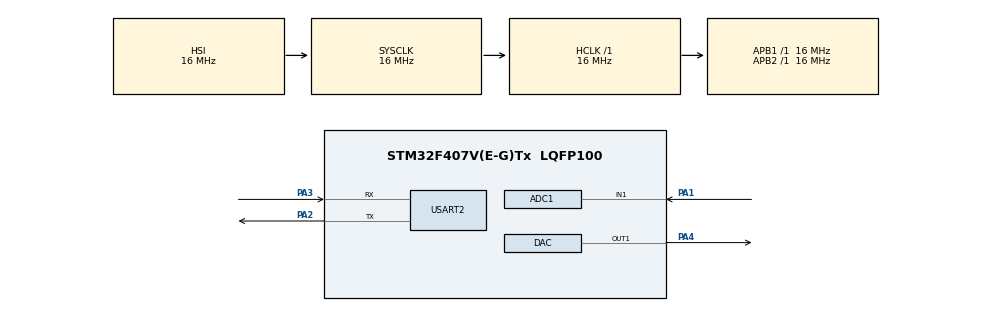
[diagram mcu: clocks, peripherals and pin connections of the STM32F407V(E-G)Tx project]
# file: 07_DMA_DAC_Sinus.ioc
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ADC1.Channel-11\#ChannelRegularConversion=ADC_CHANNEL_1
ADC1.DMAContinuousRequests=ENABLE
ADC1.ExternalTrigConv=ADC_EXTERNALTRIGCONV_T3_TRGO
ADC1.NbrOfConversionFlag=1
ADC1.Rank-11\#ChannelRegularConversion=1
ADC1.SamplingTime-11\#ChannelRegularConversion=ADC_SAMPLETIME_3CYCLES
ADC1.master=1
DAC.DAC_Trigger=DAC_TRIGGER_T6_TRGO
Dma.ADC1.1.Direction=DMA_PERIPH_TO_MEMORY
Dma.ADC1.1.FIFOMode=DMA_FIFOMODE_DISABLE
Dma.ADC1.1.Instance=DMA2_Stream0
Dma.ADC1.1.MemDataAlignment=DMA_MDATAALIGN_HALFWORD
Dma.ADC1.1.MemInc=DMA_MINC_ENABLE
Dma.ADC1.1.Mode=DMA_CIRCULAR
Dma.ADC1.1.PeriphDataAlignment=DMA_PDATAALIGN_HALFWORD
Dma.ADC1.1.PeriphInc=DMA_PINC_DISABLE
Dma.ADC1.1.Priority=DMA_PRIORITY_LOW
Dma.DAC1.0.Direction=DMA_MEMORY_TO_PERIPH
Dma.DAC1.0.FIFOMode=DMA_FIFOMODE_DISABLE
Dma.DAC1.0.Instance=DMA1_Stream5
Dma.DAC1.0.MemDataAlignment=DMA_MDATAALIGN_HALFWORD
Dma.DAC1.0.MemInc=DMA_MINC_ENABLE
Dma.DAC1.0.Mode=DMA_CIRCULAR
Dma.DAC1.0.PeriphDataAlignment=DMA_PDATAALIGN_HALFWORD
Dma.DAC1.0.PeriphInc=DMA_PINC_DISABLE
Dma.DAC1.0.Priority=DMA_PRIORITY_LOW
Dma.Request0=DAC1
Dma.Request1=ADC1
Mcu.Family=STM32F4
Mcu.Name=STM32F407V(E-G)Tx
Mcu.Package=LQFP100
NVIC.DMA1_Stream5_IRQn=true\:0\:0\:false\:false\:true\:false\:true\:true
NVIC.DMA2_Stream0_IRQn=true\:0\:0\:false\:false\:true\:false\:true\:true
NVIC.PriorityGroup=NVIC_PRIORITYGROUP_4
PA1.Signal=ADCx_IN1
PA2.Mode=Asynchronous
PA2.Signal=USART2_TX
PA3.Mode=Asynchronous
PA3.Signal=USART2_RX
PA4.Signal=COMP_DAC1_group
ProjectManager.HeapSize=0x200
ProjectManager.StackSize=0x400
ProjectManager.TargetToolchain=STM32CubeIDE
RCC.AHBFreq_Value=16000000
RCC.APB1Freq_Value=16000000
RCC.APB2Freq_Value=16000000
RCC.CortexFreq_Value=16000000
RCC.HSE_VALUE=25000000
RCC.HSI_VALUE=16000000
RCC.LSE_VALUE=32768
RCC.SYSCLKFreq_VALUE=16000000
RCC.VCOOutputFreq_Value=192000000
SH.ADCx_IN1.0=ADC1_IN1,IN1
SH.COMP_DAC1_group.0=DAC_OUT1,DAC_OUT1
TIM3.Period=799
TIM3.Prescaler=3
TIM3.TIM_MasterOutputTrigger=TIM_TRGO_UPDATE
TIM6.Period=799
TIM6.Prescaler=3
TIM6.TIM_MasterOutputTrigger=TIM_TRGO_UPDATE
USART2.VirtualMode=VM_ASYNC
VP_TIM3_VS_ClockSourceINT.Mode=Internal
VP_TIM6_VS_ClockSourceINT.Mode=Enable_Timer
board=custom

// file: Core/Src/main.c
/* USER CODE BEGIN Header */
/**
  ******************************************************************************
  * @file           : main.c
  * @brief          : Main program body
  ******************************************************************************
  * @attention
  *
  * Copyright (c) 2026 STMicroelectronics.
  * All rights reserved.
  *
  * This software is licensed under terms that can be found in the LICENSE file
  * in the root directory of this software component.
  * If no LICENSE file comes with this software, it is provided AS-IS.
  *
  ******************************************************************************
  */
/* USER CODE END Header */
#include "main.h"

/* USER CODE BEGIN Includes */

#include "math.h"
#include "stdbool.h"
#include "string.h"
#include "stdio.h"

/* USER CODE END Includes */

/* USER CODE BEGIN PD */

#define WAVE_SAMPLES		100
#define ADC_BUFFER_BOYUTU 	100

/* USER CODE END PD */

ADC_HandleTypeDef hadc1;
DMA_HandleTypeDef hdma_adc1;

DAC_HandleTypeDef hdac;
DMA_HandleTypeDef hdma_dac1;

TIM_HandleTypeDef htim3;
TIM_HandleTypeDef htim6;

UART_HandleTypeDef huart2;

/* USER CODE BEGIN PV */

uint16_t wave[WAVE_SAMPLES];
uint16_t adcBuffer[ADC_BUFFER_BOYUTU];

volatile bool adcBufferHazir = false;
float vrms = 0.0f;
/* USER CODE END PV */

void SystemClock_Config(void);
static void MX_GPIO_Init(void);
static void MX_DMA_Init(void);
static void MX_DAC_Init(void);
static void MX_TIM6_Init(void);
static void MX_ADC1_Init(void);
static void MX_TIM3_Init(void);
static void MX_USART2_UART_Init(void);

/* USER CODE BEGIN 0 */

void Generate_SinWave(void){
	for(int i = 0; i < WAVE_SAMPLES; i++){
		wave[i] = (uint16_t)((sinf(2 * M_PI * i / WAVE_SAMPLES) + 1) * 2047);
	}
}

float Calculate_Vrms(void){
	// DC ortalaması
	float offset = 0.0f;
	for(int i = 0; i < ADC_BUFFER_BOYUTU; i++){
		offset += (float)adcBuffer[i];
	}
	offset /= (float)ADC_BUFFER_BOYUTU;

	// AC bileşeninin kareler ortalaması
	float toplam = 0.0f;
	for(int i = 0; i < ADC_BUFFER_BOYUTU; i++){
		float ac = (float)adcBuffer[i] - offset;
		toplam += ac * ac;
	}

	// Voltaja çevir ve Karekök
	return (sqrtf(toplam / (float)ADC_BUFFER_BOYUTU) / 4095.0f) * 3.3f;
}

void UART_SendString(char *str)
{
    HAL_UART_Transmit(&huart2, (uint8_t*)str, strlen(str), 100);
}

void HAL_ADC_ConvCpltCallback(ADC_HandleTypeDef *hadc)
{
    if (hadc->Instance == ADC1)
    {
        adcBufferHazir = true;
    }
}
/* USER CODE END 0 */

int main(void)
{

  /* MCU Configuration--------------------------------------------------------*/

  /* Reset of all peripherals, Initializes the Flash interface and the Systick. */
  HAL_Init();

  /* Configure the system clock */
  SystemClock_Config();

  /* Initialize all configured peripherals */
  MX_GPIO_Init();
  MX_DMA_Init();
  MX_DAC_Init();
  MX_TIM6_Init();
  MX_ADC1_Init();
  MX_TIM3_Init();
  MX_USART2_UART_Init();
  /* USER CODE BEGIN 2 */
  Generate_SinWave();
  HAL_DAC_Start_DMA(&hdac, DAC_CHANNEL_1, (uint32_t*)wave, WAVE_SAMPLES, DAC_ALIGN_12B_R);
  HAL_TIM_Base_Start(&htim6);

  HAL_ADC_Start_DMA(&hadc1, (uint32_t*)adcBuffer, ADC_BUFFER_BOYUTU);
  HAL_TIM_Base_Start(&htim3);

  /* USER CODE END 2 */

  /* Infinite loop */
  while (1)
  {

    /* USER CODE BEGIN 3 */
	  if (adcBufferHazir)
	      {
	          adcBufferHazir = false;
	          vrms = Calculate_Vrms();

	          char satir[16];
	          UART_SendString("START\r\n");
	          for (int i = 0; i < ADC_BUFFER_BOYUTU; i++)
	          {
	              sprintf(satir, "%d\r\n", adcBuffer[i]);
	              UART_SendString(satir);
	          }
	      }

  }
  /* USER CODE END 3 */
}

void SystemClock_Config(void)
{
  RCC_OscInitTypeDef RCC_OscInitStruct = {0};
  RCC_ClkInitTypeDef RCC_ClkInitStruct = {0};

  /** Configure the main internal regulator output voltage
  */
  __HAL_RCC_PWR_CLK_ENABLE();
  __HAL_PWR_VOLTAGESCALING_CONFIG(PWR_REGULATOR_VOLTAGE_SCALE1);

  /** Initializes the RCC Oscillators according to the specified parameters
  * in the RCC_OscInitTypeDef structure.
  */
  RCC_OscInitStruct.OscillatorType = RCC_OSCILLATORTYPE_HSI;
  RCC_OscInitStruct.HSIState = RCC_HSI_ON;
  RCC_OscInitStruct.HSICalibrationValue = RCC_HSICALIBRATION_DEFAULT;
  RCC_OscInitStruct.PLL.PLLState = RCC_PLL_NONE;
  if (HAL_RCC_OscConfig(&RCC_OscInitStruct) != HAL_OK)
  {
    Error_Handler();
  }

  /** Initializes the CPU, AHB and APB buses clocks
  */
  RCC_ClkInitStruct.ClockType = RCC_CLOCKTYPE_HCLK|RCC_CLOCKTYPE_SYSCLK
                              |RCC_CLOCKTYPE_PCLK1|RCC_CLOCKTYPE_PCLK2;
  RCC_ClkInitStruct.SYSCLKSource = RCC_SYSCLKSOURCE_HSI;
  RCC_ClkInitStruct.AHBCLKDivider = RCC_SYSCLK_DIV1;
  RCC_ClkInitStruct.APB1CLKDivider = RCC_HCLK_DIV1;
  RCC_ClkInitStruct.APB2CLKDivider = RCC_HCLK_DIV1;

  if (HAL_RCC_ClockConfig(&RCC_ClkInitStruct, FLASH_LATENCY_0) != HAL_OK)
  {
    Error_Handler();
  }
}

static void MX_ADC1_Init(void)
{

  ADC_ChannelConfTypeDef sConfig = {0};

  /** Configure the global features of the ADC (Clock, Resolution, Data Alignment and number of conversion)
  */
  hadc1.Instance = ADC1;
  hadc1.Init.ClockPrescaler = ADC_CLOCK_SYNC_PCLK_DIV2;
  hadc1.Init.Resolution = ADC_RESOLUTION_12B;
  hadc1.Init.ScanConvMode = DISABLE;
  hadc1.Init.ContinuousConvMode = DISABLE;
  hadc1.Init.DiscontinuousConvMode = DISABLE;
  hadc1.Init.ExternalTrigConvEdge = ADC_EXTERNALTRIGCONVEDGE_RISING;
  hadc1.Init.ExternalTrigConv = ADC_EXTERNALTRIGCONV_T3_TRGO;
  hadc1.Init.DataAlign = ADC_DATAALIGN_RIGHT;
  hadc1.Init.NbrOfConversion = 1;
  hadc1.Init.DMAContinuousRequests = ENABLE;
  hadc1.Init.EOCSelection = ADC_EOC_SINGLE_CONV;
  if (HAL_ADC_Init(&hadc1) != HAL_OK)
  {
    Error_Handler();
  }

  /** Configure for the selected ADC regular channel its corresponding rank in the sequencer and its sample time.
  */
  sConfig.Channel = ADC_CHANNEL_1;
  sConfig.Rank = 1;
  sConfig.SamplingTime = ADC_SAMPLETIME_3CYCLES;
  if (HAL_ADC_ConfigChannel(&hadc1, &sConfig) != HAL_OK)
  {
    Error_Handler();
  }

}

static void MX_DAC_Init(void)
{

  DAC_ChannelConfTypeDef sConfig = {0};

  /** DAC Initialization
  */
  hdac.Instance = DAC;
  if (HAL_DAC_Init(&hdac) != HAL_OK)
  {
    Error_Handler();
  }

  /** DAC channel OUT1 config
  */
  sConfig.DAC_Trigger = DAC_TRIGGER_T6_TRGO;
  sConfig.DAC_OutputBuffer = DAC_OUTPUTBUFFER_ENABLE;
  if (HAL_DAC_ConfigChannel(&hdac, &sConfig, DAC_CHANNEL_1) != HAL_OK)
  {
    Error_Handler();
  }

}

static void MX_TIM3_Init(void)
{

  TIM_ClockConfigTypeDef sClockSourceConfig = {0};
  TIM_MasterConfigTypeDef sMasterConfig = {0};

  htim3.Instance = TIM3;
  htim3.Init.Prescaler = 3;
  htim3.Init.CounterMode = TIM_COUNTERMODE_UP;
  htim3.Init.Period = 799;
  htim3.Init.ClockDivision = TIM_CLOCKDIVISION_DIV1;
  htim3.Init.AutoReloadPreload = TIM_AUTORELOAD_PRELOAD_DISABLE;
  if (HAL_TIM_Base_Init(&htim3) != HAL_OK)
  {
    Error_Handler();
  }
  sClockSourceConfig.ClockSource = TIM_CLOCKSOURCE_INTERNAL;
  if (HAL_TIM_ConfigClockSource(&htim3, &sClockSourceConfig) != HAL_OK)
  {
    Error_Handler();
  }
  sMasterConfig.MasterOutputTrigger = TIM_TRGO_UPDATE;
  sMasterConfig.MasterSlaveMode = TIM_MASTERSLAVEMODE_DISABLE;
  if (HAL_TIMEx_MasterConfigSynchronization(&htim3, &sMasterConfig) != HAL_OK)
  {
    Error_Handler();
  }

}

static void MX_TIM6_Init(void)
{

  TIM_MasterConfigTypeDef sMasterConfig = {0};

  htim6.Instance = TIM6;
  htim6.Init.Prescaler = 3;
  htim6.Init.CounterMode = TIM_COUNTERMODE_UP;
  htim6.Init.Period = 799;
  htim6.Init.AutoReloadPreload = TIM_AUTORELOAD_PRELOAD_DISABLE;
  if (HAL_TIM_Base_Init(&htim6) != HAL_OK)
  {
    Error_Handler();
  }
  sMasterConfig.MasterOutputTrigger = TIM_TRGO_UPDATE;
  sMasterConfig.MasterSlaveMode = TIM_MASTERSLAVEMODE_DISABLE;
  if (HAL_TIMEx_MasterConfigSynchronization(&htim6, &sMasterConfig) != HAL_OK)
  {
    Error_Handler();
  }

}

static void MX_USART2_UART_Init(void)
{

  huart2.Instance = USART2;
  huart2.Init.BaudRate = 115200;
  huart2.Init.WordLength = UART_WORDLENGTH_8B;
  huart2.Init.StopBits = UART_STOPBITS_1;
  huart2.Init.Parity = UART_PARITY_NONE;
  huart2.Init.Mode = UART_MODE_TX_RX;
  huart2.Init.HwFlowCtl = UART_HWCONTROL_NONE;
  huart2.Init.OverSampling = UART_OVERSAMPLING_16;
  if (HAL_UART_Init(&huart2) != HAL_OK)
  {
    Error_Handler();
  }

}

static void MX_DMA_Init(void)
{

  /* DMA controller clock enable */
  __HAL_RCC_DMA1_CLK_ENABLE();
  __HAL_RCC_DMA2_CLK_ENABLE();

  /* DMA interrupt init */
  /* DMA1_Stream5_IRQn interrupt configuration */
  HAL_NVIC_SetPriority(DMA1_Stream5_IRQn, 0, 0);
  HAL_NVIC_EnableIRQ(DMA1_Stream5_IRQn);
  /* DMA2_Stream0_IRQn interrupt configuration */
  HAL_NVIC_SetPriority(DMA2_Stream0_IRQn, 0, 0);
  HAL_NVIC_EnableIRQ(DMA2_Stream0_IRQn);

}

static void MX_GPIO_Init(void)
{

  /* GPIO Ports Clock Enable */
  __HAL_RCC_GPIOA_CLK_ENABLE();

}

void Error_Handler(void)
{
  __disable_irq();
  while (1)
  {
  }
}
